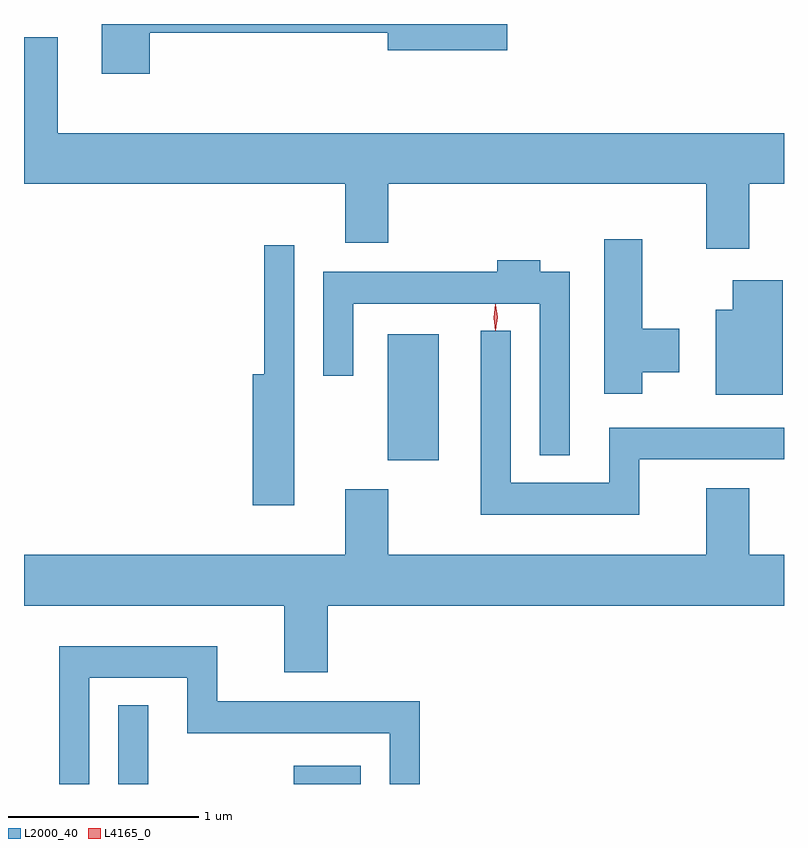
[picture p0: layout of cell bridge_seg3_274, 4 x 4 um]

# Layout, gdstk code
import gdstk
lib = gdstk.Library(unit=1e-6, precision=1e-09)
def R(c, l, rs):  # rectangles x0, y0, x1, y1
    for r in rs: c.add(gdstk.rectangle(r[:2], r[2:], *l))
def P(c, l, *ps):  # polygons
    for p in ps: c.add(gdstk.Polygon(p, *l))
L2000_40 = (2000, 40)
L4165_0 = (4165, 0)

bridge_seg3_274 = lib.new_cell('bridge_seg3_274')
R(bridge_seg3_274, L2000_40, [(1047.826,1136.178,1047.984,1136.593), (1048.751,1136.178,1049.104,1136.274), (1049.246,1137.881,1049.514,1138.544)])
P(bridge_seg3_274, L2000_40, [(1047.994,1140.131),(1049.246,1140.131),(1049.246,1140.041),(1049.874,1140.041),(1049.874,1140.178),(1047.741,1140.178),(1047.741,1139.916),(1047.994,1139.916)],
  [(1051.149,1139.336),(1051.331,1139.336),(1051.331,1139.604),(1047.509,1139.604),(1047.509,1140.109),(1047.331,1140.109),(1047.331,1139.336),(1049.021,1139.336),(1049.021,1139.026),(1049.249,1139.026),(1049.249,1139.336),(1050.921,1139.336),(1050.921,1138.996),(1051.149,1138.996)],
  [(1050.584,1138.346),(1050.779,1138.346),(1050.779,1138.574),(1050.584,1138.574),(1050.584,1139.044),(1050.386,1139.044),(1050.386,1138.231),(1050.584,1138.231)],
  [(1048.754,1139.013),(1048.596,1139.013),(1048.596,1138.334),(1048.536,1138.334),(1048.536,1137.646),(1048.754,1137.646)],
  [(1050.204,1138.874),(1050.049,1138.874),(1050.049,1138.934),(1049.821,1138.934),(1049.821,1138.874),(1048.906,1138.874),(1048.906,1138.328),(1049.064,1138.328),(1049.064,1138.706),(1050.046,1138.706),(1050.046,1137.908),(1050.204,1137.908)],
  [(1051.324,1138.829),(1051.061,1138.829),(1051.061,1138.674),(1050.971,1138.674),(1050.971,1138.226),(1051.324,1138.226)],
  [(1050.569,1137.886),(1051.331,1137.886),(1051.331,1138.054),(1050.411,1138.054),(1050.411,1137.764),(1049.894,1137.764),(1049.894,1138.563),(1049.736,1138.563),(1049.736,1137.596),(1050.569,1137.596)],
  [(1048.929,1137.116),(1051.331,1137.116),(1051.331,1137.384),(1051.149,1137.384),(1051.149,1137.734),(1050.921,1137.734),(1050.921,1137.384),(1049.249,1137.384),(1049.249,1137.729),(1049.021,1137.729),(1049.021,1137.384),(1047.331,1137.384),(1047.331,1137.116),(1048.701,1137.116),(1048.701,1136.766),(1048.929,1136.766)],
  [(1047.674,1136.736),(1048.191,1136.736),(1048.191,1136.446),(1049.256,1136.446),(1049.256,1136.178),(1049.414,1136.178),(1049.414,1136.614),(1048.349,1136.614),(1048.349,1136.904),(1047.516,1136.904),(1047.516,1136.178),(1047.674,1136.178)])
P(bridge_seg3_274, L4165_0, [(1049.813,1138.563),(1049.812,1138.564),(1049.803,1138.633),(1049.812,1138.702),(1049.813,1138.703),(1049.813,1138.702),(1049.823,1138.633),(1049.813,1138.564)],
  [(1049.814,1138.567),(1049.814,1138.568),(1049.804,1138.634),(1049.814,1138.7),(1049.814,1138.701),(1049.815,1138.7),(1049.824,1138.634),(1049.815,1138.568)])

lib.write_gds('bridge_seg3_274.gds')
